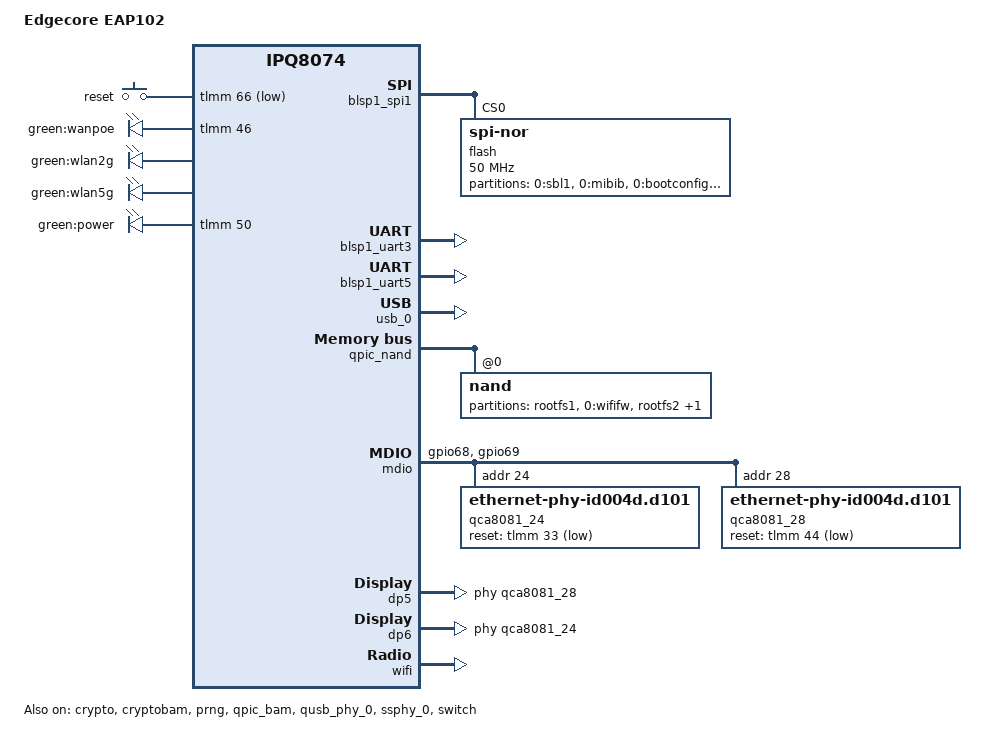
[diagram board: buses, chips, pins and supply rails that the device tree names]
// SPDX-License-Identifier: GPL-2.0-or-later OR MIT
/* Copyright (c) 2022, Matthew Hagan <mnhagan88@gmail.com> */

/dts-v1/;

#include "ipq8074.dtsi"
#include "ipq8074-ac-cpu.dtsi"
#include "ipq8074-ess.dtsi"
#include "ipq8074-nss.dtsi"
#include <dt-bindings/gpio/gpio.h>
#include <dt-bindings/input/input.h>

/ {
	model = "Edgecore EAP102";
	compatible = "edgecore,eap102", "qcom,ipq8074";

	aliases {
		serial0 = &blsp1_uart5;
		serial1 = &blsp1_uart3;
		led-boot = &led_system_green;
		led-failsafe = &led_system_green;
		led-running = &led_system_green;
		led-upgrade = &led_system_green;
		/* Aliases as required by u-boot to patch MAC addresses */
		ethernet0 = &dp5;
		ethernet1 = &dp6;
		label-mac-device = &dp5;
	};

	chosen {
		stdout-path = "serial0:115200n8";
		bootargs-append = " root=/dev/ubiblock0_1";
	};

	keys {
		compatible = "gpio-keys";
		pinctrl-0 = <&button_pins>;
		pinctrl-names = "default";

		reset {
			label = "reset";
			gpios = <&tlmm 66 GPIO_ACTIVE_LOW>;
			linux,code = <KEY_RESTART>;
		};
	};

	leds {
		compatible = "gpio-leds";

		led_wanpoe {
			label = "green:wanpoe";
			gpios = <&tlmm 46 GPIO_ACTIVE_HIGH>;
		};

		led_wlan2g {
			label = "green:wlan2g";
			gpio = <&tlmm 47 GPIO_ACTIVE_HIGH>;
			linux,default-trigger = "phy1radio";
		};

		led_wlan5g {
			label = "green:wlan5g";
			gpio = <&tlmm 48 GPIO_ACTIVE_HIGH>;
			linux,default-trigger = "phy0radio";
		};

		led_system_green: led_system {
			label = "green:power";
			gpios = <&tlmm 50 GPIO_ACTIVE_HIGH>;
		};
	};
};

&tlmm {
	mdio_pins: mdio-pins {
		mdc {
			pins = "gpio68";
			function = "mdc";
			drive-strength = <8>;
			bias-pull-up;
		};

		mdio {
			pins = "gpio69";
			function = "mdio";
			drive-strength = <8>;
			bias-pull-up;
		};
	};

	button_pins: button_pins {
		reset_button {
			pins = "gpio66";
			function = "gpio";
			drive-strength = <8>;
			bias-pull-up;
		};
	};
};

&blsp1_spi1 {
	status = "okay";

	flash@0 {
		#address-cells = <1>;
		#size-cells = <1>;
		reg = <0>;
		compatible = "jedec,spi-nor";
		spi-max-frequency = <50000000>;

		partitions {
			compatible = "fixed-partitions";
			#address-cells = <1>;
			#size-cells = <1>;

			partition@0 {
				label = "0:sbl1";
				reg = <0x0 0x50000>;
				read-only;
			};

			partition@50000 {
				label = "0:mibib";
				reg = <0x50000 0x10000>;
				read-only;
			};

			partition@60000 {
				label = "0:bootconfig";
				reg = <0x60000 0x20000>;
				read-only;
			};

			partition@80000 {
				label = "0:bootconfig1";
				reg = <0x80000 0x20000>;
				read-only;
			};

			partition@a0000 {
				label = "0:qsee";
				reg = <0xa0000 0x180000>;
				read-only;
			};

			partition@220000 {
				label = "0:qsee_1";
				reg = <0x220000 0x180000>;
				read-only;
			};

			partition@3a0000 {
				label = "0:devcfg";
				reg = <0x3a0000 0x10000>;
				read-only;
			};

			partition@3b0000 {
				label = "0:devcfg_1";
				reg = <0x3b0000 0x10000>;
				read-only;
			};

			partition@3c0000 {
				label = "0:apdp";
				reg = <0x3c0000 0x10000>;
				read-only;
			};

			partition@3d0000 {
				label = "0:apdp_1";
				reg = <0x3d0000 0x10000>;
				read-only;
			};

			partition@3e0000 {
				label = "0:rpm";
				reg = <0x3e0000 0x40000>;
				read-only;
			};

			partition@420000 {
				label = "0:rpm_1";
				reg = <0x420000 0x40000>;
				read-only;
			};

			partition@460000 {
				label = "0:cdt";
				reg = <0x460000 0x10000>;
				read-only;
			};

			partition@470000 {
				label = "0:cdt_1";
				reg = <0x470000 0x10000>;
				read-only;
			};

			partition@480000 {
				label = "0:appsblenv";
				reg = <0x480000 0x10000>;
			};

			partition@490000 {
				label = "0:appsbl";
				reg = <0x490000 0xc0000>;
				read-only;
			};

			partition@550000 {
				label = "0:appsbl_1";
				reg = <0x530000 0xc0000>;
				read-only;
			};

			partition@610000 {
				label = "0:art";
				reg = <0x610000 0x40000>;
				read-only;
			};

			partition@650000 {
				label = "0:ethphyfw";
				reg = <0x650000 0x80000>;
				read-only;
			};

			partition@6d0000 {
				label = "0:product_info";
				reg = <0x6d0000 0x80000>;
				read-only;
			};

			partition@750000 {
				label = "priv_data1";
				reg = <0x750000 0x10000>;
				read-only;
			};

			partition@760000 {
				label = "priv_data2";
				reg = <0x760000 0x10000>;
				read-only;
			};
		};
	};
};

&blsp1_uart3 {
	status = "okay";
};

&blsp1_uart5 {
	status = "okay";
};

&crypto {
	status = "okay";
};

&cryptobam {
	status = "okay";
};

&prng {
	status = "okay";
};

&qpic_bam {
	status = "okay";
};

&qusb_phy_0 {
	status = "okay";
};

&ssphy_0 {
	status = "okay";
};

&usb_0 {
	status = "okay";
};

&qpic_nand {
	status = "okay";

	nand@0 {
		reg = <0>;
		nand-ecc-strength = <8>;
		nand-ecc-step-size = <512>;
		nand-bus-width = <8>;

		partitions {
			compatible = "fixed-partitions";
			#address-cells = <1>;
			#size-cells = <1>;

			partition@0 {
				label = "rootfs1";
				reg = <0x0000000 0x3400000>;
			};

			partition@3400000 {
				label = "0:wififw";
				reg = <0x3400000 0x800000>;
				read-only;
			};

			partition@3c00000 {
				label = "rootfs2";
				reg = <0x3c00000 0x3400000>;
			};

			partition@7000000 {
				label = "0:wififw_1";
				reg = <0x7000000 0x800000>;
				read-only;
			};
		};
	};
};

&mdio {
	status = "okay";

	pinctrl-0 = <&mdio_pins>;
	pinctrl-names = "default";

	qca8081_24: ethernet-phy@24 {
		compatible = "ethernet-phy-id004d.d101";
		reg = <24>;
		reset-gpios = <&tlmm 33 GPIO_ACTIVE_LOW>;
	};

	qca8081_28: ethernet-phy@28 {
		compatible = "ethernet-phy-id004d.d101";
		reg = <28>;
		reset-gpios = <&tlmm 44 GPIO_ACTIVE_LOW>;
	};
};

&switch {
	status = "okay";

	switch_cpu_bmp = <0x1>;  /* cpu port bitmap */
	switch_lan_bmp = <0x3e>; /* lan port bitmap */
	switch_wan_bmp = <0x40>; /* wan port bitmap */
	switch_mac_mode = <0xff>; /* mac mode for uniphy instance0*/
	switch_mac_mode1 = <0xf>; /* mac mode for uniphy instance1*/
	switch_mac_mode2 = <0xf>; /* mac mode for uniphy instance2*/
	bm_tick_mode = <0>; /* bm tick mode */
	tm_tick_mode = <0>; /* tm tick mode */

	qcom,port_phyinfo {
		port@4 {
			port_id = <5>;
			phy_address = <24>;
			port_mac_sel = "QGMAC_PORT";
		};
		port@5 {
			port_id = <6>;
			phy_address = <28>;
			port_mac_sel = "QGMAC_PORT";
		};
	};
};

&edma {
	status = "okay";
};

&dp5 {
	status = "okay";
	phy-handle = <&qca8081_28>;
	label = "wan";
};

&dp6 {
	status = "okay";
	phy-handle = <&qca8081_24>;
	label = "lan";
};

&wifi {
	status = "okay";

	qcom,ath11k-calibration-variant = "Edgecore-EAP102";
};
